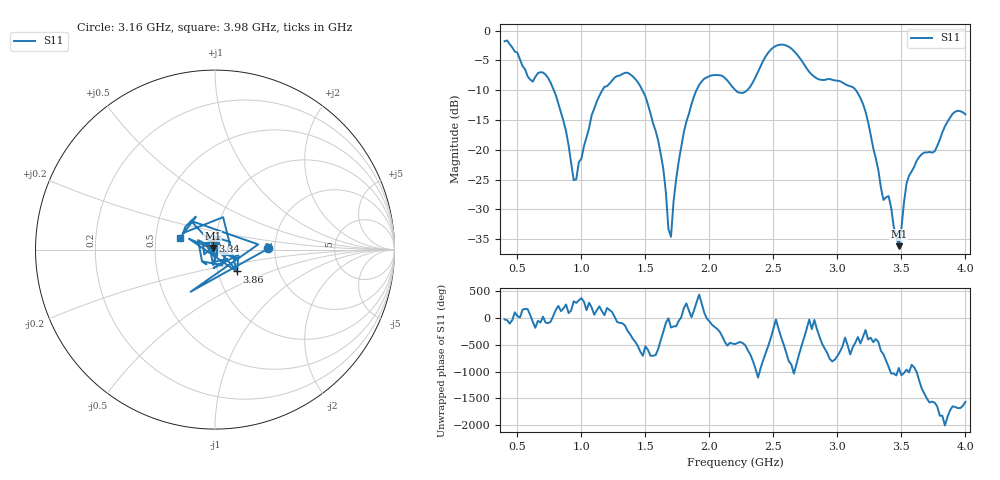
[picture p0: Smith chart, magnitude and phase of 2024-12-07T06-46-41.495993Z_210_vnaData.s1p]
!Created with skrf (http://scikit-rf.org).
# Hz S RI R 50.0
!freq ReS11 ImS11
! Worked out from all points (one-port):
!   181 points, 400 MHz to 4 GHz, reference 50 ohm
!   lowest |S11| = -36.2 dB at 3.48 GHz (marker M1), VSWR 1.03, Z = 48.7 + j0.848 ohm
!   |S11| at or under -10 dB: 784.2 MHz to 1.164 GHz (379.4 MHz wide, 39 % of centre); 1.476 GHz to 1.899 GHz (422.8 MHz wide, 25.1 % of centre); 3.144 GHz to end of sweep (the widest 3 of 4)
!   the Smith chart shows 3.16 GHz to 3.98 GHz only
!   S11 on the Smith chart (normalised r, x): 3.16 GHz: 1.85, +0.03; 3.34 GHz: 0.97, +0.09; 3.86 GHz: 1.23, -0.31; 3.98 GHz: 0.67, +0.09
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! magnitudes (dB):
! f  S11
! 400 MHz  -1.8
! 600 MHz  -8.2
! 740 MHz  -7.9
! 860 MHz  -15.2
! 960 MHz  -24.9
! 1.12 GHz  -11.9
! 1.3 GHz  -7.5
! 1.5 GHz  -11.0
! 1.62 GHz  -20.7
! 1.7 GHz  -34.6
! 1.76 GHz  -22.0
! 1.82 GHz  -15.3
! 1.94 GHz  -8.5
! 2.2 GHz  -9.9
! 2.3 GHz  -9.9
! 2.5 GHz  -2.8
! 2.66 GHz  -3.4
! 2.84 GHz  -8.0
! 3.1 GHz  -9.3
! 3.16 GHz  -10.5
! 3.22 GHz  -13.6
! 3.34 GHz  -26.3
! 3.4 GHz  -27.8
! 3.48 GHz  -36.2
! 3.56 GHz  -24.3
! 3.86 GHz  -15.3
! 3.98 GHz  -13.7
! 4 GHz  -14.1
